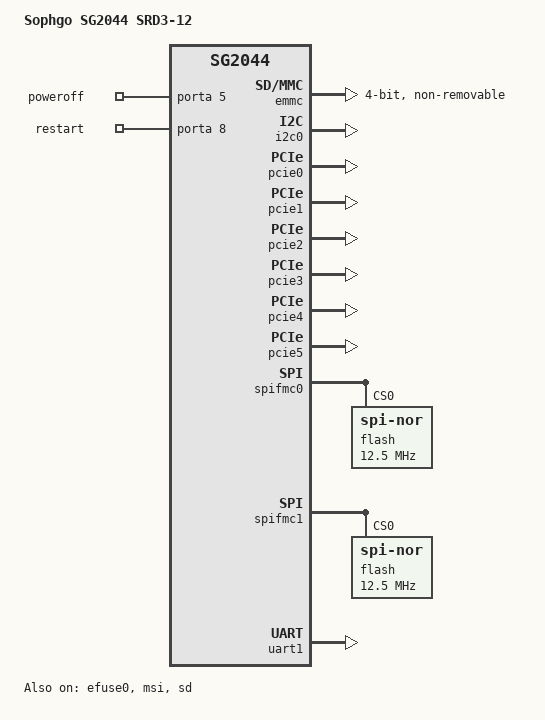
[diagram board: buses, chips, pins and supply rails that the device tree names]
// SPDX-License-Identifier: (GPL-2.0 OR MIT)
/*
 * Copyright (C) 2025 Inochi Amaoto <inochiama@gmail.com>
 */

/dts-v1/;

#include "sg2044.dtsi"

/ {
	model = "Sophgo SG2044 SRD3-12";
	compatible = "sophgo,srd3-12", "sophgo,sg2044";

	aliases {
		serial0 = &uart0;
		serial1 = &uart1;
		serial2 = &uart2;
		serial3 = &uart3;
	};

	poweroff {
		compatible = "gpio-poweroff";
		gpios = <&porta 5 GPIO_ACTIVE_HIGH>;
		active-delay-ms = <300>;
		inactive-delay-ms = <300>;
	};

	restart {
		compatible = "gpio-restart";
		gpios = <&porta 8 GPIO_ACTIVE_HIGH>;
		active-delay = <300>;
		inactive-delay = <300>;
	};

	chosen {
		stdout-path = "serial1:115200n8";
	};
};

&osc {
	clock-frequency = <25000000>;
};

&emmc {
	bus-width = <4>;
	no-sdio;
	no-sd;
	non-removable;
	wp-inverted;
	status = "okay";
};

&efuse0 {
	status = "okay";
};

/* BMC SSIF transport uses I2C0; this board has no SD3-10 hwmon MCU. */
&i2c0 {
	status = "okay";
};

&msi {
	status = "okay";
};

/*
 * Keep the SRD3-10 domain numbering for the shared root ports:
 * pcie1=0 (PCIE3), pcie0=1 (PCIE1), pcie3=2 (M.2_1),
 * pcie2=3 (MCIO1), pcie4=4 (ASM2824 / MCIO2).
 * The additional x4 port pcie5=5 is PCIE2 (EDK2 segment 5).
 */

&pcie0 {
	bus-range = <0x00 0xff>;
	linux,pci-domain = <1>;
	status = "okay";
};

&pcie1 {
	bus-range = <0x00 0xff>;
	linux,pci-domain = <0>;
	status = "okay";
};

&pcie2 {
	bus-range = <0x00 0xff>;
	linux,pci-domain = <3>;
	status = "okay";
};

&pcie3 {
	/* C2C1 Wrapper0 is split into two x4 root ports on SD3-12. */
	ranges = <0x01000000 0x00 0x00000000 0x78 0x10000000 0x00 0x00100000>,
		 <0x02000000 0x00 0x20000000 0x00 0x20000000 0x00 0x08000000>,
		 <0x43000000 0x79 0x00000000 0x79 0x00000000 0x01 0x00000000>;
	bus-range = <0x00 0xff>;
	linux,pci-domain = <2>;
	status = "okay";
};

&pcie4 {
	bus-range = <0x00 0xff>;
	linux,pci-domain = <4>;
	status = "okay";
};

&pcie5 {
	bus-range = <0x00 0xff>;
	linux,pci-domain = <5>;
	status = "okay";
};

&sd {
	bus-width = <4>;
	no-sdio;
	no-mmc;
	wp-inverted;
	status = "okay";
};

&spifmc0 {
	status = "okay";

	flash@0 {
		compatible = "jedec,spi-nor";
		reg = <0>;
		spi-max-frequency = <12500000>;
		spi-tx-bus-width = <1>;
		spi-rx-bus-width = <1>;
	};
};

&spifmc1 {
	status = "okay";

	flash@0 {
		compatible = "jedec,spi-nor";
		reg = <0>;
		spi-max-frequency = <12500000>;
		spi-tx-bus-width = <1>;
		spi-rx-bus-width = <1>;
	};
};

&uart0 {
	/* for firmware */
	status = "reserved";
};

&uart1 {
	status = "okay";
};
